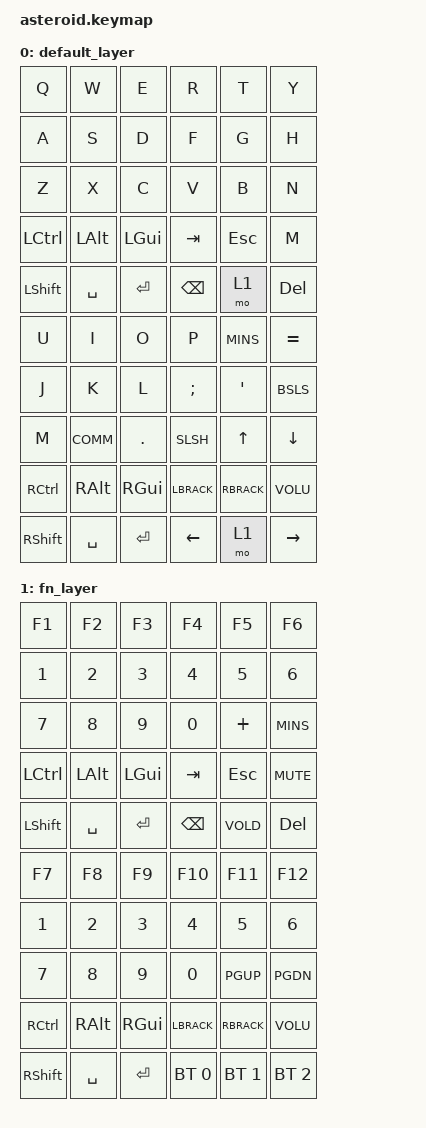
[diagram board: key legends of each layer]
#include <behaviors.dtsi>
#include <dt-bindings/zmk/keys.h>
#include <dt-bindings/zmk/bt.h>

/ {
    keymap {
        compatible = "zmk,keymap";

        default_layer {
            bindings = <
                // Left half (6x5 = 30 keys)
                &kp Q     &kp W     &kp E     &kp R     &kp T     &kp Y    // Row 1
                &kp A     &kp S     &kp D     &kp F     &kp G     &kp H    // Row 2
                &kp Z     &kp X     &kp C     &kp V     &kp B     &kp N    // Row 3
                &kp LCTL  &kp LALT  &kp LGUI  &kp TAB   &kp ESC   &kp M    // Row 4
                &kp LSHIFT &kp SPACE &kp ENTER &kp BSPC  &mo 1     &kp DEL  // Row 5 (thumb row)

                // Right half (6x5 = 30 keys)
                &kp U     &kp I     &kp O     &kp P     &kp MINS  &kp EQL  // Row 1
                &kp J     &kp K     &kp L     &kp SCLN  &kp QUOT  &kp BSLS // Row 2
                &kp M     &kp COMM  &kp DOT   &kp SLSH  &kp UP    &kp DOWN // Row 3
                &kp RCTL  &kp RALT  &kp RGUI  &kp LBRACK &kp RBRACK &kp VOLU // Row 4
                &kp RSHIFT &kp SPACE &kp ENTER &kp LEFT  &mo 1     &kp RIGHT // Row 5 (thumb row)
            >;
        };

        fn_layer {
            bindings = <
                // Left half (6x5 = 30 keys)
                &kp F1    &kp F2    &kp F3    &kp F4    &kp F5    &kp F6   // Row 1
                &kp N1    &kp N2    &kp N3    &kp N4    &kp N5    &kp N6   // Row 2
                &kp N7    &kp N8    &kp N9    &kp N0    &kp PLUS  &kp MINS // Row 3
                &kp LCTL  &kp LALT  &kp LGUI  &kp TAB   &kp ESC   &kp MUTE // Row 4
                &kp LSHIFT &kp SPACE &kp ENTER &kp BSPC  &kp VOLD  &kp DEL  // Row 5 (thumb row)

                // Right half (6x5 = 30 keys)
                &kp F7    &kp F8    &kp F9    &kp F10   &kp F11   &kp F12  // Row 1
                &kp N1    &kp N2    &kp N3    &kp N4    &kp N5    &kp N6   // Row 2
                &kp N7    &kp N8    &kp N9    &kp N0    &kp PGUP  &kp PGDN // Row 3
                &kp RCTL  &kp RALT  &kp RGUI  &kp LBRACK &kp RBRACK &kp VOLU // Row 4
                &kp RSHIFT &kp SPACE &kp ENTER &bt BT_SEL 0 &bt BT_SEL 1 &bt BT_SEL 2 // Row 5 (thumb row)
            >;
        };
    };
};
